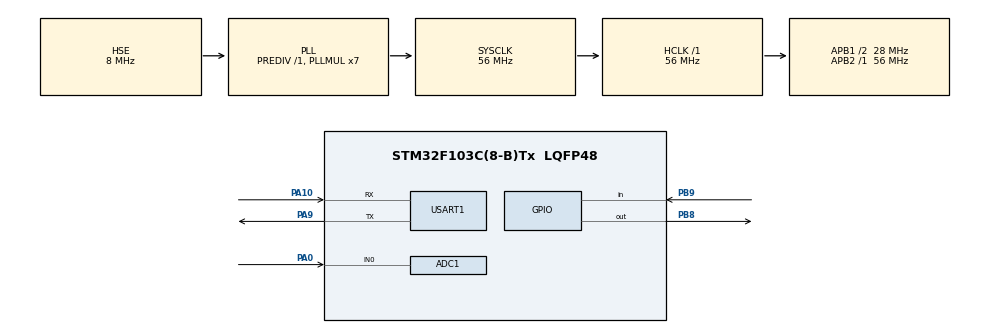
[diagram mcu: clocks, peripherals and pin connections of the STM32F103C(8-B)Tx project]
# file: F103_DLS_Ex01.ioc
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ADC1.Channel-0\#ChannelRegularConversion=ADC_CHANNEL_0
ADC1.ContinuousConvMode=ENABLE
ADC1.NbrOfConversionFlag=1
ADC1.Rank-0\#ChannelRegularConversion=1
ADC1.SamplingTime-0\#ChannelRegularConversion=ADC_SAMPLETIME_1CYCLE_5
ADC1.master=1
Dma.ADC1.0.Direction=DMA_PERIPH_TO_MEMORY
Dma.ADC1.0.Instance=DMA1_Channel1
Dma.ADC1.0.MemDataAlignment=DMA_MDATAALIGN_HALFWORD
Dma.ADC1.0.MemInc=DMA_MINC_ENABLE
Dma.ADC1.0.Mode=DMA_NORMAL
Dma.ADC1.0.PeriphDataAlignment=DMA_PDATAALIGN_HALFWORD
Dma.ADC1.0.PeriphInc=DMA_PINC_DISABLE
Dma.ADC1.0.Priority=DMA_PRIORITY_HIGH
Dma.Request0=ADC1
Mcu.Family=STM32F1
Mcu.Name=STM32F103C(8-B)Tx
Mcu.Package=LQFP48
NVIC.DMA1_Channel1_IRQn=true\:0\:0\:false\:false\:true\:false\:true\:true
NVIC.PriorityGroup=NVIC_PRIORITYGROUP_4
PA0-WKUP.Signal=ADCx_IN0
PA10.Mode=Asynchronous
PA10.Signal=USART1_RX
PA9.Mode=Asynchronous
PA9.Signal=USART1_TX
PB8.Signal=GPIO_Output
PB9.GPIO_PuPd=GPIO_PULLUP
PB9.Signal=GPIO_Input
PD0-OSC_IN.Mode=HSE-External-Oscillator
PD0-OSC_IN.Signal=RCC_OSC_IN
PD1-OSC_OUT.Mode=HSE-External-Oscillator
PD1-OSC_OUT.Signal=RCC_OSC_OUT
ProjectManager.HeapSize=0x200
ProjectManager.StackSize=0x400
ProjectManager.TargetToolchain=STM32CubeIDE
RCC.ADCPresc=RCC_ADCPCLK2_DIV4
RCC.AHBFreq_Value=56000000
RCC.APB1CLKDivider=RCC_HCLK_DIV2
RCC.APB1Freq_Value=28000000
RCC.APB1TimFreq_Value=56000000
RCC.APB2Freq_Value=56000000
RCC.APB2TimFreq_Value=56000000
RCC.HCLKFreq_Value=56000000
RCC.PLLMUL=RCC_PLL_MUL7
RCC.PLLSourceVirtual=RCC_PLLSOURCE_HSE
RCC.SYSCLKFreq_VALUE=56000000
RCC.SYSCLKSource=RCC_SYSCLKSOURCE_PLLCLK
RCC.USBFreq_Value=56000000
SH.ADCx_IN0.0=ADC1_IN0,IN0
TIM1.Prescaler=100
USART1.VirtualMode=VM_ASYNC
VP_TIM1_VS_ClockSourceINT.Mode=Internal
board=custom

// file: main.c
/* USER CODE BEGIN Header */
/**
  ******************************************************************************
  * @file           : main.c
  * @brief          : Main program body
  ******************************************************************************
  * @attention
  *
  * DLS - Programa usando o STM32 F103 (Blue Pill)
  *
  ******************************************************************************
  */
/* USER CODE END Header */
#include "main.h"

/* USER CODE BEGIN Includes */
#include <stdbool.h>
#define Ns 8500 // Número de Leituras Realizadas
/* USER CODE END Includes */

/* USER CODE BEGIN PM */

uint16_t AdcRead[Ns];

// Variáveis para controle de leituras aalógicas e transferência dos dados.
bool flag = false;
bool transfere = false;
char buffer[5];
char debugger[14];
char buffer2[30];

// Variáveis para contagem do tempo
uint32_t tempo_anterior;
uint32_t tempo_atual;
int32_t resultado;
/* USER CODE END PM */

ADC_HandleTypeDef hadc1;
DMA_HandleTypeDef hdma_adc1;

TIM_HandleTypeDef htim1;

UART_HandleTypeDef huart1;

void SystemClock_Config(void);
static void MX_GPIO_Init(void);
static void MX_DMA_Init(void);
static void MX_ADC1_Init(void);
static void MX_TIM1_Init(void);
static void MX_USART1_UART_Init(void);

int main(void)
{

  /* MCU Configuration--------------------------------------------------------*/

  /* Reset of all peripherals, Initializes the Flash interface and the Systick. */
  HAL_Init();

  /* Configure the system clock */
  SystemClock_Config();

  /* Initialize all configured peripherals */
  MX_GPIO_Init();
  MX_DMA_Init();
  MX_ADC1_Init();
  MX_TIM1_Init();
  MX_USART1_UART_Init();
  /* USER CODE BEGIN 2 */
  HAL_TIM_Base_Start(&htim1);		// Liga o Timer1
  /* USER CODE END 2 */

  /* Infinite loop */
  /* USER CODE BEGIN WHILE */
  while (1)
  {
	  // Analisa se o push-button foi pressionado.
	  if( HAL_GPIO_ReadPin(GPIOB, GPIO_PIN_9) == GPIO_PIN_RESET && flag == false){
		  flag = true;
	  }

	  // Confirma que o push-button foi  REALMENTE pressionado.
	  if( HAL_GPIO_ReadPin(GPIOB, GPIO_PIN_9) == GPIO_PIN_SET && flag == true){
	  		  flag = false;
	  		  HAL_UART_Transmit(&huart1, debugger, sprintf(debugger, "Debug Point 1\n"), 200);
	  		  HAL_GPIO_TogglePin(GPIOB, GPIO_PIN_8);
	  		  tempo_anterior = __HAL_TIM_GET_COUNTER(&htim1);	// Grava o instante de tempo no qual as aquisições ADC vão iniciar.
	  		  HAL_ADC_Start_DMA(&hadc1, AdcRead, Ns);			// Inicia uma série de aquisições com o ADC

	  	  }

	  // Rotina de transferência dos dados via porta Serial.
	  if (transfere == true){
		  HAL_UART_Transmit(&huart1, debugger, sprintf(debugger, "Debug Point 2\n"), 200);
		  for (int i = 0; i< Ns; i = i + 1){
			  HAL_UART_Transmit(&huart1, buffer, sprintf(buffer, "%4d\n ", AdcRead[i]), 200);
			  for (int b = 0; b < 100; b++){	// Rotina para Gastar tempo e evitar travamentos.
			  	b = (b+2/b+2);
			  }
		  }
		  transfere = false;

		  // Contagem do tempo gasto nas Ns leituras com o ADC
		  resultado = tempo_atual - tempo_anterior;
		 		  if (resultado < 0){
		 			  resultado = resultado + 65535;
		 		  }
		  HAL_UART_Transmit(&huart1, "\n", 1, 200);
		  HAL_UART_Transmit(&huart1, buffer2, sprintf(buffer2, "Pulsos de Clock Total: ", resultado), 200);
		  HAL_UART_Transmit(&huart1, buffer2, sprintf(buffer2, "%d\n", resultado), 200);
		  HAL_UART_Transmit(&huart1, "\n", 1, 200);

	  }
    /* USER CODE END WHILE */

  }
}

void SystemClock_Config(void)
{
  RCC_OscInitTypeDef RCC_OscInitStruct = {0};
  RCC_ClkInitTypeDef RCC_ClkInitStruct = {0};
  RCC_PeriphCLKInitTypeDef PeriphClkInit = {0};

  /** Initializes the RCC Oscillators according to the specified parameters
  * in the RCC_OscInitTypeDef structure.
  */
  RCC_OscInitStruct.OscillatorType = RCC_OSCILLATORTYPE_HSE;
  RCC_OscInitStruct.HSEState = RCC_HSE_ON;
  RCC_OscInitStruct.HSEPredivValue = RCC_HSE_PREDIV_DIV1;
  RCC_OscInitStruct.HSIState = RCC_HSI_ON;
  RCC_OscInitStruct.PLL.PLLState = RCC_PLL_ON;
  RCC_OscInitStruct.PLL.PLLSource = RCC_PLLSOURCE_HSE;
  RCC_OscInitStruct.PLL.PLLMUL = RCC_PLL_MUL7;
  if (HAL_RCC_OscConfig(&RCC_OscInitStruct) != HAL_OK)
  {
    Error_Handler();
  }

  /** Initializes the CPU, AHB and APB buses clocks
  */
  RCC_ClkInitStruct.ClockType = RCC_CLOCKTYPE_HCLK|RCC_CLOCKTYPE_SYSCLK
                              |RCC_CLOCKTYPE_PCLK1|RCC_CLOCKTYPE_PCLK2;
  RCC_ClkInitStruct.SYSCLKSource = RCC_SYSCLKSOURCE_PLLCLK;
  RCC_ClkInitStruct.AHBCLKDivider = RCC_SYSCLK_DIV1;
  RCC_ClkInitStruct.APB1CLKDivider = RCC_HCLK_DIV2;
  RCC_ClkInitStruct.APB2CLKDivider = RCC_HCLK_DIV1;

  if (HAL_RCC_ClockConfig(&RCC_ClkInitStruct, FLASH_LATENCY_2) != HAL_OK)
  {
    Error_Handler();
  }
  PeriphClkInit.PeriphClockSelection = RCC_PERIPHCLK_ADC;
  PeriphClkInit.AdcClockSelection = RCC_ADCPCLK2_DIV4;
  if (HAL_RCCEx_PeriphCLKConfig(&PeriphClkInit) != HAL_OK)
  {
    Error_Handler();
  }
}

static void MX_ADC1_Init(void)
{

  ADC_ChannelConfTypeDef sConfig = {0};

  /** Common config
  */
  hadc1.Instance = ADC1;
  hadc1.Init.ScanConvMode = ADC_SCAN_DISABLE;
  hadc1.Init.ContinuousConvMode = ENABLE;
  hadc1.Init.DiscontinuousConvMode = DISABLE;
  hadc1.Init.ExternalTrigConv = ADC_SOFTWARE_START;
  hadc1.Init.DataAlign = ADC_DATAALIGN_RIGHT;
  hadc1.Init.NbrOfConversion = 1;
  if (HAL_ADC_Init(&hadc1) != HAL_OK)
  {
    Error_Handler();
  }

  /** Configure Regular Channel
  */
  sConfig.Channel = ADC_CHANNEL_0;
  sConfig.Rank = ADC_REGULAR_RANK_1;
  sConfig.SamplingTime = ADC_SAMPLETIME_1CYCLE_5;
  if (HAL_ADC_ConfigChannel(&hadc1, &sConfig) != HAL_OK)
  {
    Error_Handler();
  }

}

static void MX_TIM1_Init(void)
{

  TIM_ClockConfigTypeDef sClockSourceConfig = {0};
  TIM_MasterConfigTypeDef sMasterConfig = {0};

  htim1.Instance = TIM1;
  htim1.Init.Prescaler = 100;
  htim1.Init.CounterMode = TIM_COUNTERMODE_UP;
  htim1.Init.Period = 65535;
  htim1.Init.ClockDivision = TIM_CLOCKDIVISION_DIV1;
  htim1.Init.RepetitionCounter = 0;
  htim1.Init.AutoReloadPreload = TIM_AUTORELOAD_PRELOAD_DISABLE;
  if (HAL_TIM_Base_Init(&htim1) != HAL_OK)
  {
    Error_Handler();
  }
  sClockSourceConfig.ClockSource = TIM_CLOCKSOURCE_INTERNAL;
  if (HAL_TIM_ConfigClockSource(&htim1, &sClockSourceConfig) != HAL_OK)
  {
    Error_Handler();
  }
  sMasterConfig.MasterOutputTrigger = TIM_TRGO_RESET;
  sMasterConfig.MasterSlaveMode = TIM_MASTERSLAVEMODE_DISABLE;
  if (HAL_TIMEx_MasterConfigSynchronization(&htim1, &sMasterConfig) != HAL_OK)
  {
    Error_Handler();
  }

}

static void MX_USART1_UART_Init(void)
{

  huart1.Instance = USART1;
  huart1.Init.BaudRate = 115200;
  huart1.Init.WordLength = UART_WORDLENGTH_8B;
  huart1.Init.StopBits = UART_STOPBITS_1;
  huart1.Init.Parity = UART_PARITY_NONE;
  huart1.Init.Mode = UART_MODE_TX_RX;
  huart1.Init.HwFlowCtl = UART_HWCONTROL_NONE;
  huart1.Init.OverSampling = UART_OVERSAMPLING_16;
  if (HAL_UART_Init(&huart1) != HAL_OK)
  {
    Error_Handler();
  }

}

static void MX_DMA_Init(void)
{

  /* DMA controller clock enable */
  __HAL_RCC_DMA1_CLK_ENABLE();

  /* DMA interrupt init */
  /* DMA1_Channel1_IRQn interrupt configuration */
  HAL_NVIC_SetPriority(DMA1_Channel1_IRQn, 0, 0);
  HAL_NVIC_EnableIRQ(DMA1_Channel1_IRQn);

}

static void MX_GPIO_Init(void)
{
  GPIO_InitTypeDef GPIO_InitStruct = {0};

  /* GPIO Ports Clock Enable */
  __HAL_RCC_GPIOD_CLK_ENABLE();
  __HAL_RCC_GPIOA_CLK_ENABLE();
  __HAL_RCC_GPIOB_CLK_ENABLE();

  /*Configure GPIO pin Output Level */
  HAL_GPIO_WritePin(GPIOB, GPIO_PIN_8, GPIO_PIN_RESET);

  /*Configure GPIO pin : PB8 */
  GPIO_InitStruct.Pin = GPIO_PIN_8;
  GPIO_InitStruct.Mode = GPIO_MODE_OUTPUT_PP;
  GPIO_InitStruct.Pull = GPIO_NOPULL;
  GPIO_InitStruct.Speed = GPIO_SPEED_FREQ_LOW;
  HAL_GPIO_Init(GPIOB, &GPIO_InitStruct);

  /*Configure GPIO pin : PB9 */
  GPIO_InitStruct.Pin = GPIO_PIN_9;
  GPIO_InitStruct.Mode = GPIO_MODE_INPUT;
  GPIO_InitStruct.Pull = GPIO_PULLUP;
  HAL_GPIO_Init(GPIOB, &GPIO_InitStruct);

}

/* USER CODE BEGIN 4 */
void HAL_ADC_ConvCpltCallback(ADC_HandleTypeDef* hadc1){
	tempo_atual = __HAL_TIM_GET_COUNTER(&htim1);
	HAL_UART_Transmit(&huart1, debugger, sprintf(debugger, "Debug Point 3\n"), 200);
	HAL_ADC_Stop_DMA(hadc1);
	transfere = true;
}
/* USER CODE END 4 */

void Error_Handler(void)
{
  __disable_irq();
  while (1)
  {
  }
}
